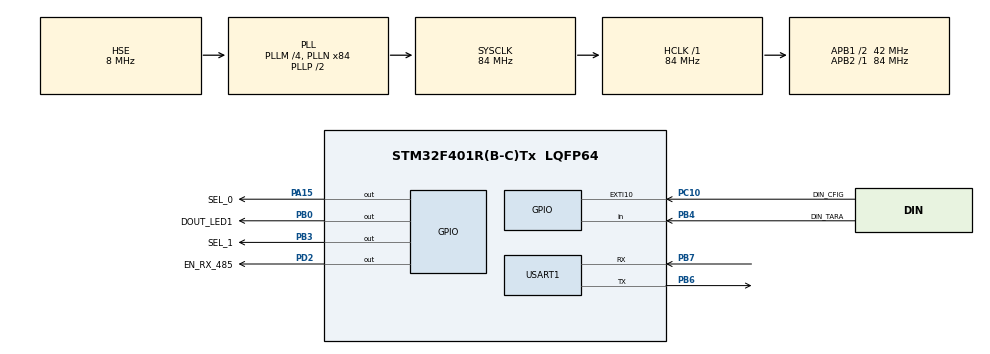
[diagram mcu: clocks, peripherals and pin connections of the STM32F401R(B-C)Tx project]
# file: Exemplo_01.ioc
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FREERTOS.Tasks01=defaultTask,0,128,StartDefaultTask,Default,NULL,Dynamic,NULL,NULL
Mcu.Family=STM32F4
Mcu.Name=STM32F401R(B-C)Tx
Mcu.Package=LQFP64
NVIC.EXTI15_10_IRQn=true\:5\:0\:false\:false\:true\:true\:true\:true
NVIC.PriorityGroup=NVIC_PRIORITYGROUP_4
NVIC.TIM4_IRQn=true\:0\:0\:false\:false\:true\:false\:false\:true
NVIC.TimeBase=TIM4_IRQn
NVIC.TimeBaseIP=TIM4
PA13.Mode=Serial_Wire
PA13.Signal=SYS_JTMS-SWDIO
PA14.Mode=Serial_Wire
PA14.Signal=SYS_JTCK-SWCLK
PA15.GPIO_Label=SEL_0
PA15.Signal=GPIO_Output
PB0.GPIO_Label=DOUT_LED1
PB0.Signal=GPIO_Output
PB3.GPIO_Label=SEL_1
PB3.GPIO_PuPd=GPIO_PULLUP
PB3.Signal=GPIO_Output
PB4.GPIO_Label=DIN_TARA
PB4.Signal=GPIO_Input
PB6.Mode=Asynchronous
PB6.Signal=USART1_TX
PB7.Mode=Asynchronous
PB7.Signal=USART1_RX
PC10.GPIO_Label=DIN_CFIG
PC10.GPIO_ModeDefaultEXTI=GPIO_MODE_IT_FALLING
PC10.Signal=GPXTI10
PD2.GPIO_Label=EN_RX_485
PD2.GPIO_PuPd=GPIO_PULLUP
PD2.Signal=GPIO_Output
PH0\ -\ OSC_IN.Mode=HSE-External-Oscillator
PH0\ -\ OSC_IN.Signal=RCC_OSC_IN
PH1\ -\ OSC_OUT.Mode=HSE-External-Oscillator
PH1\ -\ OSC_OUT.Signal=RCC_OSC_OUT
ProjectManager.HeapSize=0x200
ProjectManager.StackSize=0x400
ProjectManager.TargetToolchain=STM32CubeIDE
RCC.48MHZClocksFreq_Value=42000000
RCC.AHBFreq_Value=84000000
RCC.APB1CLKDivider=RCC_HCLK_DIV2
RCC.APB1Freq_Value=42000000
RCC.APB1TimFreq_Value=84000000
RCC.APB2Freq_Value=84000000
RCC.APB2TimFreq_Value=84000000
RCC.CortexFreq_Value=84000000
RCC.HCLKFreq_Value=84000000
RCC.HSE_VALUE=8000000
RCC.HSI_VALUE=16000000
RCC.LSE_VALUE=32768
RCC.PLLM=4
RCC.PLLN=84
RCC.PLLSourceVirtual=RCC_PLLSOURCE_HSE
RCC.SYSCLKFreq_VALUE=84000000
RCC.SYSCLKSource=RCC_SYSCLKSOURCE_PLLCLK
RCC.VCOOutputFreq_Value=168000000
USART1.VirtualMode=VM_ASYNC
VP_FREERTOS_VS_CMSIS_V1.Mode=CMSIS_V1
VP_SYS_VS_tim4.Mode=TIM4
board=custom

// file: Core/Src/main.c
/* USER CODE BEGIN Header */
/**
 ******************************************************************************
 * @file           : main.c
 * @brief          : Main program body
 ******************************************************************************
 * @attention
 *
 * <h2><center>&copy; Copyright (c) 2022 STMicroelectronics.
 * All rights reserved.</center></h2>
 *
 * This software component is licensed by ST under BSD 3-Clause license,
 * the "License"; You may not use this file except in compliance with the
 * License. You may obtain a copy of the License at:
 *                        opensource.org/licenses/BSD-3-Clause
 *
 ******************************************************************************
 */
/* USER CODE END Header */
#include "main.h"
//#include "cmsis_os.h"

/* USER CODE BEGIN Includes */
#include "FreeRTOS.h"   	//inclusão
#include "task.h"       	//inclusão
#include "queue.h"      	//inclusão
#include "semphr.h"     	//inclusão
#include "event_groups.h" 	//incluido
#include "timers.h"			//incluido

#include <stdio.h>      	//inclusão
#include <string.h>     	//inclusão
#include <stdint.h>     	//incluso
/* USER CODE END Includes */

/* USER CODE BEGIN PTD */
//criação de enumeração
typedef enum {
	Bit_RESET = 0, Bit_SET
} BitAction;
/* USER CODE END PTD */

UART_HandleTypeDef huart1;

//osThreadId defaultTaskHandle;
/* USER CODE BEGIN PV */
SemaphoreHandle_t xMutex = NULL;

static TaskHandle_t xTaskHandle_ISR;
static TaskHandle_t xTaskHandle_Bin;
static TaskHandle_t xTaskHandle_Count;
//funções de escrita serial
void vPrintString(char *pc_uartSend_f);
void vUsartLib_Putc(UART_HandleTypeDef *huart, char c_data);
void vUsartLib_Puts(char *c_data);
/* USER CODE END PV */

void SystemClock_Config(void);
static void MX_GPIO_Init(void);
static void MX_USART1_UART_Init(void);
void StartDefaultTask(void const *argument);

/* USER CODE BEGIN PFP */
void vTask_blink(void *pvParameters);		//efetua um toggle
void vTask_Handle(void *pvParameters);
void vTask_1(void *pvParameters);
void vTask_2(void *pvParameters);
void vTask_3(void *pvParameters);
void vTask_4(void *pvParameters);

/* USER CODE END PFP */

int main(void) {

	/* MCU Configuration--------------------------------------------------------*/

	/* Reset of all peripherals, Initializes the Flash interface and the Systick. */
	HAL_Init();

	/* Configure the system clock */
	SystemClock_Config();

	/* Initialize all configured peripherals */
	MX_GPIO_Init();
	MX_USART1_UART_Init();

	/* USER CODE BEGIN RTOS_SEMAPHORES */
	/* add semaphores, ... */
	//O semáforo é criado para ter um valor maximo de 10 contagens e um valor inicial de contagem 0
	xMutex = xSemaphoreCreateMutex();

	if (xMutex != NULL)
		vPrintString("xMutex criado com sucesso\n");

	/* Create the thread(s) */
	/* definition and creation of defaultTask */

	/* USER CODE BEGIN RTOS_THREADS */
	/* add threads, ... */
	if ((xTaskCreate(vTask_blink, "Task Blink", configMINIMAL_STACK_SIZE * 2,
	NULL, 1, NULL)) != pdTRUE) {
		vPrintString(
				"não foi possivel alocar tarefa Blink vTaskBlink no escalonador\n");
	} else {
		vPrintString("Tarefa Task Blink criada com sucesso!\n");
	}

	if ((xTaskCreate(vTask_Handle, "Task handle", configMINIMAL_STACK_SIZE * 2,
	NULL, 1, &xTaskHandle_ISR)) != pdTRUE) {
		vPrintString(
				"não foi possivel alocar tarefa vTaskHandle no escalonador\n");
	} else {
		vPrintString("Tarefa vTaskHandle criada com sucesso!\n");
	}

	if ((xTaskCreate(vTask_1, "vTask_1", configMINIMAL_STACK_SIZE,
	NULL, 1, NULL)) != pdTRUE) {
		vPrintString("não foi possivel alocar tarefa vTask_1 no escalonador\n");
	} else {
		vPrintString("Tarefa vTask_1 criada com sucesso!\n");
	}

	if ((xTaskCreate(vTask_2, "vTask_2", configMINIMAL_STACK_SIZE,
	NULL, 1, &xTaskHandle_Bin)) != pdTRUE) {
		vPrintString("não foi possivel alocar tarefa vTask_2 no escalonador\n");
	} else {
		vPrintString("Tarefa vTask_2 criada com sucesso!\n");
	}

	if ((xTaskCreate(vTask_3, "vTask_3", configMINIMAL_STACK_SIZE,
	NULL, 1, &xTaskHandle_Bin)) != pdTRUE) {
		vPrintString("não foi possivel alocar tarefa vTask_3 no escalonador\n");
	} else {
		vPrintString("Tarefa vTask_3 criada com sucesso!\n");
	}

	if ((xTaskCreate(vTask_4, "vTask_4", configMINIMAL_STACK_SIZE,
	NULL, 1, &xTaskHandle_Count)) != pdTRUE) {
		vPrintString("não foi possivel alocar tarefa vTask_4 no escalonador\n");
	} else {
		vPrintString("Tarefa vTask_4 criada com sucesso!\n");
	}

	vTaskStartScheduler();
	/* USER CODE END RTOS_THREADS */

	/* Start scheduler */
	/* We should never get here as control is now taken by the scheduler */
	/* Infinite loop */
	while (1) {

	}
}

void SystemClock_Config(void) {
	RCC_OscInitTypeDef RCC_OscInitStruct = { 0 };
	RCC_ClkInitTypeDef RCC_ClkInitStruct = { 0 };

	/** Configure the main internal regulator output voltage
	 */
	__HAL_RCC_PWR_CLK_ENABLE();
	__HAL_PWR_VOLTAGESCALING_CONFIG(PWR_REGULATOR_VOLTAGE_SCALE2);
	/** Initializes the RCC Oscillators according to the specified parameters
	 * in the RCC_OscInitTypeDef structure.
	 */
	RCC_OscInitStruct.OscillatorType = RCC_OSCILLATORTYPE_HSE;
	RCC_OscInitStruct.HSEState = RCC_HSE_ON;
	RCC_OscInitStruct.PLL.PLLState = RCC_PLL_ON;
	RCC_OscInitStruct.PLL.PLLSource = RCC_PLLSOURCE_HSE;
	RCC_OscInitStruct.PLL.PLLM = 4;
	RCC_OscInitStruct.PLL.PLLN = 84;
	RCC_OscInitStruct.PLL.PLLP = RCC_PLLP_DIV2;
	RCC_OscInitStruct.PLL.PLLQ = 4;
	if (HAL_RCC_OscConfig(&RCC_OscInitStruct) != HAL_OK) {
		Error_Handler();
	}
	/** Initializes the CPU, AHB and APB buses clocks
	 */
	RCC_ClkInitStruct.ClockType = RCC_CLOCKTYPE_HCLK | RCC_CLOCKTYPE_SYSCLK
			| RCC_CLOCKTYPE_PCLK1 | RCC_CLOCKTYPE_PCLK2;
	RCC_ClkInitStruct.SYSCLKSource = RCC_SYSCLKSOURCE_PLLCLK;
	RCC_ClkInitStruct.AHBCLKDivider = RCC_SYSCLK_DIV1;
	RCC_ClkInitStruct.APB1CLKDivider = RCC_HCLK_DIV2;
	RCC_ClkInitStruct.APB2CLKDivider = RCC_HCLK_DIV1;

	if (HAL_RCC_ClockConfig(&RCC_ClkInitStruct, FLASH_LATENCY_2) != HAL_OK) {
		Error_Handler();
	}
}

static void MX_USART1_UART_Init(void) {

	huart1.Instance = USART1;
	huart1.Init.BaudRate = 115200;
	huart1.Init.WordLength = UART_WORDLENGTH_8B;
	huart1.Init.StopBits = UART_STOPBITS_1;
	huart1.Init.Parity = UART_PARITY_NONE;
	huart1.Init.Mode = UART_MODE_TX_RX;
	huart1.Init.HwFlowCtl = UART_HWCONTROL_NONE;
	huart1.Init.OverSampling = UART_OVERSAMPLING_16;
	if (HAL_UART_Init(&huart1) != HAL_OK) {
		Error_Handler();
	}

}

static void MX_GPIO_Init(void) {
	GPIO_InitTypeDef GPIO_InitStruct = { 0 };

	/* GPIO Ports Clock Enable */
	__HAL_RCC_GPIOH_CLK_ENABLE();
	__HAL_RCC_GPIOB_CLK_ENABLE();
	__HAL_RCC_GPIOA_CLK_ENABLE();
	__HAL_RCC_GPIOC_CLK_ENABLE();
	__HAL_RCC_GPIOD_CLK_ENABLE();

	/*Configure GPIO pin Output Level */
	HAL_GPIO_WritePin(GPIOB, DOUT_LED1_Pin | SEL_1_Pin, GPIO_PIN_RESET);

	/*Configure GPIO pin Output Level */
	HAL_GPIO_WritePin(SEL_0_GPIO_Port, SEL_0_Pin, GPIO_PIN_RESET);

	/*Configure GPIO pin Output Level */
	HAL_GPIO_WritePin(EN_RX_485_GPIO_Port, EN_RX_485_Pin, GPIO_PIN_RESET);

	/*Configure GPIO pin : DOUT_LED1_Pin */
	GPIO_InitStruct.Pin = DOUT_LED1_Pin;
	GPIO_InitStruct.Mode = GPIO_MODE_OUTPUT_PP;
	GPIO_InitStruct.Pull = GPIO_NOPULL;
	GPIO_InitStruct.Speed = GPIO_SPEED_FREQ_LOW;
	HAL_GPIO_Init(DOUT_LED1_GPIO_Port, &GPIO_InitStruct);

	/*Configure GPIO pin : SEL_0_Pin */
	GPIO_InitStruct.Pin = SEL_0_Pin;
	GPIO_InitStruct.Mode = GPIO_MODE_OUTPUT_PP;
	GPIO_InitStruct.Pull = GPIO_NOPULL;
	GPIO_InitStruct.Speed = GPIO_SPEED_FREQ_LOW;
	HAL_GPIO_Init(SEL_0_GPIO_Port, &GPIO_InitStruct);

	/*Configure GPIO pin : DIN_CFIG_Pin */
	GPIO_InitStruct.Pin = DIN_CFIG_Pin;
	GPIO_InitStruct.Mode = GPIO_MODE_IT_FALLING;
	GPIO_InitStruct.Pull = GPIO_NOPULL;
	HAL_GPIO_Init(DIN_CFIG_GPIO_Port, &GPIO_InitStruct);

	/*Configure GPIO pin : EN_RX_485_Pin */
	GPIO_InitStruct.Pin = EN_RX_485_Pin;
	GPIO_InitStruct.Mode = GPIO_MODE_OUTPUT_PP;
	GPIO_InitStruct.Pull = GPIO_PULLUP;
	GPIO_InitStruct.Speed = GPIO_SPEED_FREQ_LOW;
	HAL_GPIO_Init(EN_RX_485_GPIO_Port, &GPIO_InitStruct);

	/*Configure GPIO pin : SEL_1_Pin */
	GPIO_InitStruct.Pin = SEL_1_Pin;
	GPIO_InitStruct.Mode = GPIO_MODE_OUTPUT_PP;
	GPIO_InitStruct.Pull = GPIO_PULLUP;
	GPIO_InitStruct.Speed = GPIO_SPEED_FREQ_LOW;
	HAL_GPIO_Init(SEL_1_GPIO_Port, &GPIO_InitStruct);

	/*Configure GPIO pin : DIN_TARA_Pin */
	GPIO_InitStruct.Pin = DIN_TARA_Pin;
	GPIO_InitStruct.Mode = GPIO_MODE_INPUT;
	GPIO_InitStruct.Pull = GPIO_NOPULL;
	HAL_GPIO_Init(DIN_TARA_GPIO_Port, &GPIO_InitStruct);

	/* EXTI interrupt init*/
	HAL_NVIC_SetPriority(EXTI15_10_IRQn, 5, 0);
	HAL_NVIC_EnableIRQ(EXTI15_10_IRQn);

}

/* USER CODE BEGIN 4 */
//-----------------------------------------------------------------------------
//funções de impressão
void vPrintString(char *pc_uartSend_f) {
	xSemaphoreTake(xMutex, portMAX_DELAY);
	{
		vUsartLib_Puts(pc_uartSend_f);
	}
	xSemaphoreGive(xMutex);
}
void vUsartLib_Putc(UART_HandleTypeDef *huart, char c_data) {
	//envia um unico caractere
	HAL_UART_Transmit(huart, &c_data, 1, 10);
}
void vUsartLib_Puts(char *c_data) {
	//roda todo o buffer até encontrar 0x00
	while (*c_data) {
		vUsartLib_Putc(&huart1, *c_data++);
	}
}

void HAL_GPIO_EXTI_Callback(uint16_t GPIO_Pin) {

	BaseType_t xHigherPriorityTaskWoken;
	/*
	 * O parâmetro xHigherPriorityTaskWoken deve ser inicializado para pdFALSE, pois será definido como
	 * pdTRUE dentro da função API segura contra interrupções contra interrupções, se for necessária uma
	 * alternacia de contexto.
	 */
	xHigherPriorityTaskWoken = pdFALSE;

	/* Envia uma notificação diretamente para tarefa que esta bloqueada aguardando o Semáforo por TaskNotify */

	vTaskNotifyGiveFromISR(
	/*O identificador da tarefa para a qual a notificação esta sendo enviada.
	 * O identificador foi salvo quando a tarefa foi criada. */
	xTaskHandle_ISR, &xHigherPriorityTaskWoken);

	vTaskNotifyGiveFromISR(xTaskHandle_ISR, &xHigherPriorityTaskWoken);
	vTaskNotifyGiveFromISR(xTaskHandle_ISR, &xHigherPriorityTaskWoken);

	/*
	 * Passa o token xHigherPriorityTaskWoken para portYIELD_FROM_ISR().
	 * Se xHigherPriorityTaskWoken foi definido como pdTRUE na chamada da função vTaskNotifyGiveFromISR(),
	 * portYIELD_FROM_ISR() irá solicitar uma troca de contexto para tarefa pendente de notificação.
	 * Se xHigherPriorityTaskWoken for pdFALSE, portYIELD_FROM_ISR() não terá efeito nenhum no escalonador
	 * */
	portYIELD_FROM_ISR(xHigherPriorityTaskWoken);
}

// *************************************** TAREFAS ***************************************************
void vTask_1(void *pvParameters) {

	vPrintString("vTask_1 inciada!\r\n");

	for (;;) {
		xTaskNotifyGive(xTaskHandle_Count);
		xTaskNotifyGive(xTaskHandle_Count);
		vTaskDelay(2000 / portTICK_PERIOD_MS);
	}
	vTaskDelay(NULL);
}

void vTask_2(void *pvParameters) {

	vPrintString("vTask_2 inciada!\r\n");

	for (;;) {
		xTaskNotifyGive(xTaskHandle_Bin);
		vTaskDelay(1500 / portTICK_PERIOD_MS);
	}
	vTaskDelay(NULL);
}

void vTask_3(void *pvParameters) {

	vPrintString("vTask_3 inciada!\r\n");

	const TickType_t xMaxExpectedBlockTime = pdMS_TO_TICKS( 500 );

	for (;;) {
		/*Aguarda uma notificação da ISR por 500ms. */
		/** pdTRUE Limpa o buffer contador, trabalhando somente como semaforo binario.
		 *	pdFALSE incrementa a variavel ulEvents com o numero de Give gerados na ISR, assim trabalhando como semaforo contador.
		 *	Cada chamada TaskNotify decrementa a quantidade de ISR geradas pelo Give.
		 */

		/*Quando xClearOnExit é pdFALSE,
		 * chamar ulTaskNotifyTake() só poderá diminuir (reduzir em um) o valor de notificação da tarefa de chamada,
		 * em vez de reduzi-lo até zero. A contagem de notificações é a diferença entre o número de eventos que ocorreram e
		 * o número de eventos que foram processados. Simplificando o decremento da notificação dentro da função ulTaskNotifyTake
		 * não precisamos utilizar uma variavel para fazer a contagem
		 */

		if (ulTaskNotifyTake(pdFALSE, xMaxExpectedBlockTime) != 0) {
			// Para chegar aqui, pelo menos um evento deve ter ocorrido..

			vPrintString("vTask3 - Processing event.\r\n");
		} else {
			/* Se essa parte da função for atingida,
			 * nenhuma ISR foi recebida no tempo de 500mS
			 * podendo ser executado algum tratamento de erro ou logica qualquer. */
			vPrintString("Time-out TaskNotify vTask3.\r\n");
		}
	}
	vTaskDelay(NULL);
}

void vTask_4(void *pvParameters) {

	vPrintString("vTask_4 iniciada!\r\n");
	const TickType_t xMaxExpectedBlockTime = pdMS_TO_TICKS(500);

	uint32_t ulNotifiedValue = 0;

	for (;;) {
		/*Aguarda uma notificação da ISR por 500ms. */
		/** Agora iremos trabalhar com uma metodologia mais eficiente
		 * O valor da quatidade de gives gerados como semaforo contador é armazenado em ulNotifiedValue
		 * e trataremos cada chamada sem precisar chamar a função ulTaskNotifyTake como no exemplo passado,
		 * assim dedicando mais desempenho a tarefa.
		 */
		ulNotifiedValue = ulTaskNotifyTake(pdTRUE, xMaxExpectedBlockTime);

		if (ulNotifiedValue != 0) {
			// Para chegar aqui, pelo menos um evento deve ter ocorrido..

			vPrintString("Entrando no semph contador com tak notify!\r\n");

			//enquanto o retorno for diferente de 0, executo o tratamento da ISR
			while (ulNotifiedValue--) {
				vPrintString("vTask4 - Processing event.\r\n");
			}
		} else {
			/* Se essa parte da função for atingida,
			 * nenhuma ISR foi recebida no tempo de 500mS
			 * podendo ser executado algum tratamento de erro ou logica qualquer. */
			vPrintString("Time-out TaskNotify. vTask4\r\n");
		}
	}
}
void vTask_Handle(void *pvParameters) {

	vPrintString("Task gerenciada pelo semaforo iniciada!\n");

	const TickType_t xMaxExpectedBlockTime = pdMS_TO_TICKS(500);

	for (;;) {
		/* Aguarda uma notificação da ISR por 500ms */
		/*
		 * pdTRUE Limpa o buffer contador, trabalhando somente como semaforo binário.
		 * pdFALSE incrementa a variavel ulEvents com o numero de Give gerado na ISR, assim trabalhando como semaforo contador.
		 * Cada chamada TaskNotify decrementa a quantidade de ISR geradas pelo Give
		 *
		 */

		/*
		 * Quando xClearOnExit é pdFALSE,
		 * chamar ulTaskNotifyTake() só poderá diminuir (reduzir em um) o valor de notificação da tarefa de chamada,
		 * em vez de reduzir-lo até zero. A contagem de notificações é a diferença entre o número de eventos que ocorram e
		 * o número de eventos que foram processados. Simplificando e decremento da notificação dentro da função
		 * ulTaskNotifyTake não precisamos utilizar uma variavel para fazer a contagem
		 */

		ulTaskNotifyTake(pdFALSE, portMAX_DELAY);
		{
			vPrintString("Handler task - Processing event.\r\n");
		}

//		if( ulTaskNotifyTake(pdFALSE, xMaxExpectedBlockTime) != 0 ) {
//			// Para chegar aqui, pelo menos um evento deve ter ocorrido..
//			vPrintString( "Handler task - Processing event.\r\n");
//		} else {
//			/*
//			 * Se essa parte da função for atingida,
//			 * nenhuma ISR foi recebida no tempo de 500ms
//			 * podendo ser executado algum tratamento de erro ou logica qualquer
//			 */
//			vPrintString( "Time-out TaskNotify. \r\n");
//		}

	}
}

void vTask_blink(void *pvParameters) {

	char c_buff[200];

//	vPrintString("Entrando da Task de debug");

	for (;;) {
		//Altera o estado do led
		HAL_GPIO_TogglePin(DOUT_LED1_GPIO_Port, DOUT_LED1_Pin);

		vTaskList(c_buff);

		vPrintString(
				"\n\r\nTask-------------State-----Prio------Stack---Num\r\n");
		vPrintString(c_buff);
		vPrintString("\n");

		memset(c_buff, 0, sizeof(c_buff));

		sprintf(c_buff, "Free Heap: %d bytes \n\n",
				xPortGetMinimumEverFreeHeapSize());
		vPrintString(c_buff);

		memset(c_buff, 0, sizeof(c_buff));

		vPrintString("\n\n\n");
		vTaskDelay(5000 / portTICK_PERIOD_MS);

		HAL_GPIO_TogglePin(DOUT_LED1_GPIO_Port, DOUT_LED1_Pin);
	}
	vTaskDelete( NULL);
}

/* USER CODE END 4 */

void StartDefaultTask(void const *argument) {
	for (;;) {
		osDelay(1);
	}
}

void HAL_TIM_PeriodElapsedCallback(TIM_HandleTypeDef *htim) {
	if (htim->Instance == TIM4) {
		HAL_IncTick();
	}
}

void Error_Handler(void) {
	__disable_irq();
	while (1) {
	}
}

/************************ (C) COPYRIGHT STMicroelectronics *****END OF FILE****/
